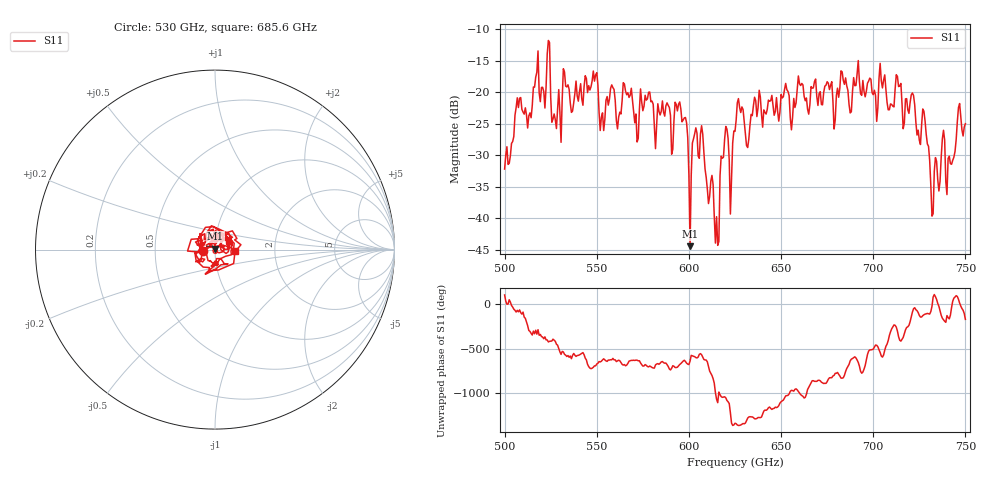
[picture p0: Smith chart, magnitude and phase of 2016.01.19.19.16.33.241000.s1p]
!Created with skrf (http://scikit-rf.org).
# GHz S RI R 50.0
!freq ReS11 ImS11
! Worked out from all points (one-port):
!   401 points, 500 GHz to 750 GHz, reference 50 ohm
!   lowest |S11| = -44.4 dB at 600.6 GHz (marker M1), VSWR 1.01, Z = 50.1 + j0.594 ohm
!   |S11| at or under -10 dB: start of sweep to end of sweep
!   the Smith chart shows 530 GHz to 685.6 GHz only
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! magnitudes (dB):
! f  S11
! 500 GHz  -32.2
! 516.9 GHz  -17.6
! 520.6 GHz  -19.2
! 523.8 GHz  -11.8
! 526.9 GHz  -23.5
! 531.2 GHz  -21.1
! 548.8 GHz  -18.3
! 552.5 GHz  -24.0
! 558.1 GHz  -18.9
! 562.5 GHz  -23.2
! 593.8 GHz  -23.0
! 598.1 GHz  -24.0
! 600.6 GHz  -44.4
! 603.1 GHz  -26.6
! 607.5 GHz  -26.7
! 615 GHz  -39.8
! 618.8 GHz  -30.3
! 623.1 GHz  -33.7
! 625 GHz  -26.2
! 652.5 GHz  -18.6
! 656.2 GHz  -23.9
! 660.6 GHz  -19.0
! 687.5 GHz  -23.3
! 705 GHz  -19.3
! 718.8 GHz  -22.8
! 728.1 GHz  -24.6
! 731.9 GHz  -39.7
! 750 GHz  -25.0
